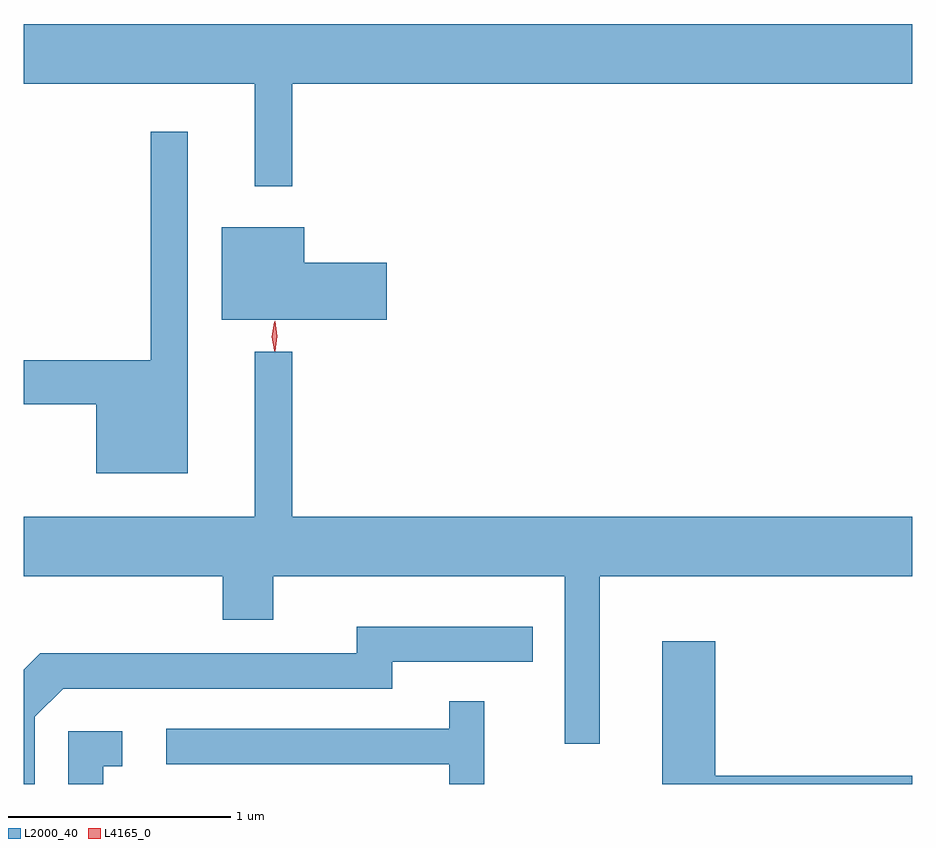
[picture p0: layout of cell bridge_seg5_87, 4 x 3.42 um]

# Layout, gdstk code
import gdstk
lib = gdstk.Library(unit=1e-6, precision=1e-09)
def P(c, l, *ps):  # polygons
    for p in ps: c.add(gdstk.Polygon(p, *l))
L2000_40 = (2000, 40)
L4165_0 = (4165, 0)

bridge_seg5_87 = lib.new_cell('bridge_seg5_87')
P(bridge_seg5_87, L2000_40, [(1144.139,1467.896),(1146.931,1467.896),(1146.931,1468.164),(1142.931,1468.164),(1142.931,1467.896),(1143.971,1467.896),(1143.971,1467.433),(1144.139,1467.433)],
  [(1143.669,1467.678),(1143.501,1467.678),(1143.501,1466.649),(1142.931,1466.649),(1142.931,1466.451),(1143.256,1466.451),(1143.256,1466.141),(1143.669,1466.141)],
  [(1144.564,1467.089),(1144.194,1467.089),(1144.194,1467.249),(1143.821,1467.249),(1143.821,1466.831),(1144.564,1466.831)],
  [(1145.524,1465.676),(1146.931,1465.676),(1146.931,1465.944),(1144.139,1465.944),(1144.139,1466.688),(1143.971,1466.688),(1143.971,1465.944),(1142.931,1465.944),(1142.931,1465.676),(1143.826,1465.676),(1143.826,1465.481),(1144.054,1465.481),(1144.054,1465.676),(1145.366,1465.676),(1145.366,1464.923),(1145.524,1464.923)],
  [(1142.979,1465.044),(1143.107,1465.171),(1144.589,1465.171),(1144.589,1465.291),(1145.223,1465.291),(1145.223,1465.449),(1144.431,1465.449),(1144.431,1465.329),(1143.004,1465.329),(1142.931,1465.256),(1142.931,1464.741),(1142.979,1464.741)],
  [(1146.931,1464.779),(1146.044,1464.779),(1146.044,1465.384),(1145.806,1465.384),(1145.806,1464.741),(1146.931,1464.741)],
  [(1145.004,1465.113),(1144.846,1465.113),(1144.846,1464.989),(1143.573,1464.989),(1143.573,1464.831),(1144.846,1464.831),(1144.846,1464.741),(1145.004,1464.741)],
  [(1143.289,1464.821),(1143.373,1464.821),(1143.373,1464.979),(1143.131,1464.979),(1143.131,1464.741),(1143.289,1464.741)])
P(bridge_seg5_87, L4165_0, [(1144.061,1466.69),(1144.061,1466.69),(1144.051,1466.758),(1144.061,1466.825),(1144.061,1466.826),(1144.062,1466.825),(1144.071,1466.758),(1144.062,1466.69)],
  [(1144.058,1466.693),(1144.058,1466.694),(1144.048,1466.756),(1144.058,1466.82),(1144.058,1466.82),(1144.059,1466.82),(1144.068,1466.756),(1144.059,1466.694)])

lib.write_gds('bridge_seg5_87.gds')
